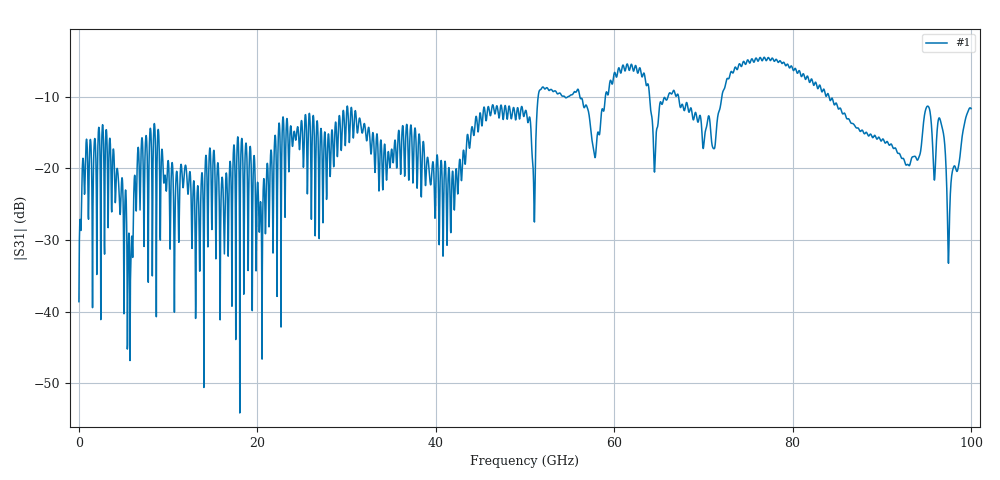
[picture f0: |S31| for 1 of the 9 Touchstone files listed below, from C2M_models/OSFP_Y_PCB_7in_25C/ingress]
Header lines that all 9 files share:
# GHz S RI R 45
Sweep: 25 MHz to 100 GHz
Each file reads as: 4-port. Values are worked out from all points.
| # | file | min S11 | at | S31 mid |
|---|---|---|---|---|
| 1 | C2M_Y_OSFP224_7in_host_PCB_25C_FEXT_TP4a_Rx1_to_TP5_Rx8.s4p | -44.3 dB | 33.7 GHz | -12.1 dB at 50.02 GHz |
| 2 | C2M_Y_OSFP224_7in_host_PCB_25C_FEXT_TP4a_Rx2_to_TP5_Rx8.s4p | -44.3 dB | 33.7 GHz | -12.1 dB at 50.02 GHz |
| 3 | C2M_Y_OSFP224_7in_host_PCB_25C_FEXT_TP4a_Rx3_to_TP5_Rx8.s4p | -44.3 dB | 33.7 GHz | -12.1 dB at 50.02 GHz |
| 4 | C2M_Y_OSFP224_7in_host_PCB_25C_FEXT_TP4a_Rx4_to_TP5_Rx8.s4p | -44.3 dB | 33.7 GHz | -12.1 dB at 50.02 GHz |
| 5 | C2M_Y_OSFP224_7in_host_PCB_25C_FEXT_TP4a_Rx5_to_TP5_Rx8.s4p | -44.3 dB | 33.7 GHz | -12.1 dB at 50.02 GHz |
| 6 | C2M_Y_OSFP224_7in_host_PCB_25C_FEXT_TP4a_Rx6_to_TP5_Rx8.s4p | -44.3 dB | 33.7 GHz | -12.1 dB at 50.02 GHz |
| 7 | C2M_Y_OSFP224_7in_host_PCB_25C_FEXT_TP4a_Rx7_to_TP5_Rx8.s4p | -44.3 dB | 33.7 GHz | -12.1 dB at 50.02 GHz |
| 8 | C2M_Y_OSFP224_7in_host_PCB_25C_NEXT_TP5_Tx1_to_TP5_Rx8.s4p | -44.3 dB | 33.7 GHz | -12.1 dB at 50.02 GHz |
| 9 | C2M_Y_OSFP224_7in_host_PCB_25C_NEXT_TP5_Tx2_to_TP5_Rx8.s4p | -44.3 dB | 33.7 GHz | -12.1 dB at 50.02 GHz |
